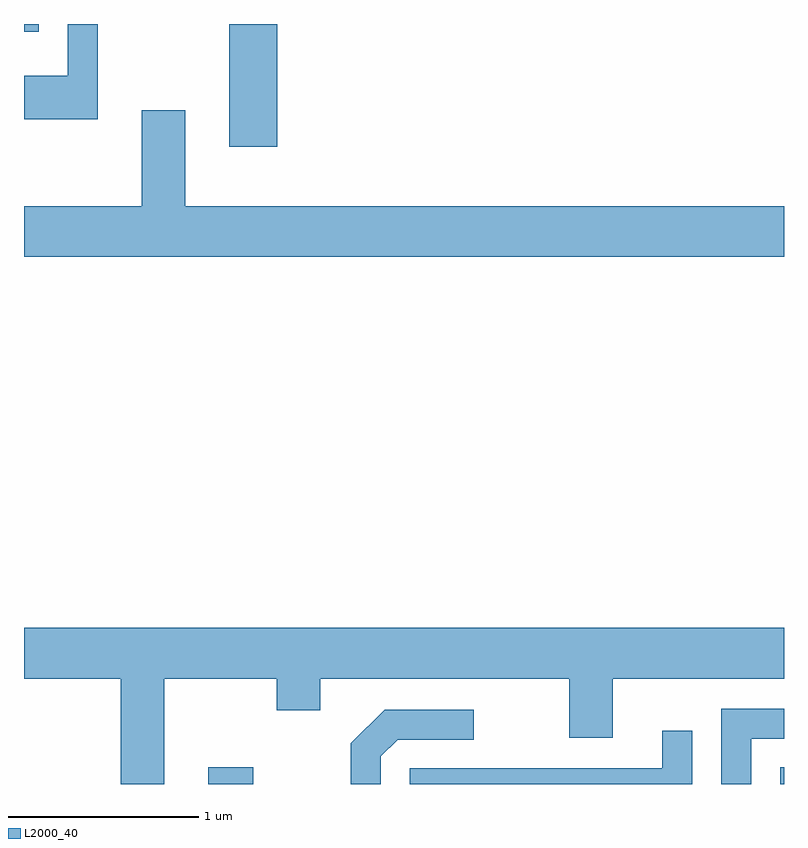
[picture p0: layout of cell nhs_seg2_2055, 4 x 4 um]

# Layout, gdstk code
import gdstk
lib = gdstk.Library(unit=1e-6, precision=1e-09)
def R(c, l, rs):  # rectangles x0, y0, x1, y1
    for r in rs: c.add(gdstk.rectangle(r[:2], r[2:], *l))
def P(c, l, *ps):  # polygons
    for p in ps: c.add(gdstk.Polygon(p, *l))
L2000_40 = (2000, 40)

nhs_seg2_2055 = lib.new_cell('nhs_seg2_2055')
R(nhs_seg2_2055, L2000_40, [(246.581,1007.802,246.818,1007.889), (249.591,1007.802,249.611,1007.889), (246.691,1011.156,246.944,1011.802), (245.611,1011.761,245.689,1011.802)])
P(nhs_seg2_2055, L2000_40, [(245.999,1011.802),(245.841,1011.802),(245.841,1011.529),(245.611,1011.529),(245.611,1011.301),(245.999,1011.301)],
  [(249.611,1010.844),(246.459,1010.844),(246.459,1011.349),(246.231,1011.349),(246.231,1010.844),(245.611,1010.844),(245.611,1010.576),(249.611,1010.576)],
  [(246.349,1008.356),(246.941,1008.356),(246.941,1008.191),(247.169,1008.191),(247.169,1008.356),(248.481,1008.356),(248.481,1008.046),(248.709,1008.046),(248.709,1008.356),(249.611,1008.356),(249.611,1008.624),(245.611,1008.624),(245.611,1008.356),(246.121,1008.356),(246.121,1007.802),(246.349,1007.802)],
  [(249.439,1008.041),(249.611,1008.041),(249.611,1008.199),(249.281,1008.199),(249.281,1007.802),(249.439,1007.802)],
  [(247.489,1007.949),(247.577,1008.036),(247.978,1008.036),(247.978,1008.194),(247.509,1008.194),(247.331,1008.017),(247.331,1007.802),(247.489,1007.802)],
  [(249.129,1008.083),(248.971,1008.083),(248.971,1007.884),(247.641,1007.884),(247.641,1007.802),(249.129,1007.802)])

lib.write_gds('nhs_seg2_2055.gds')
